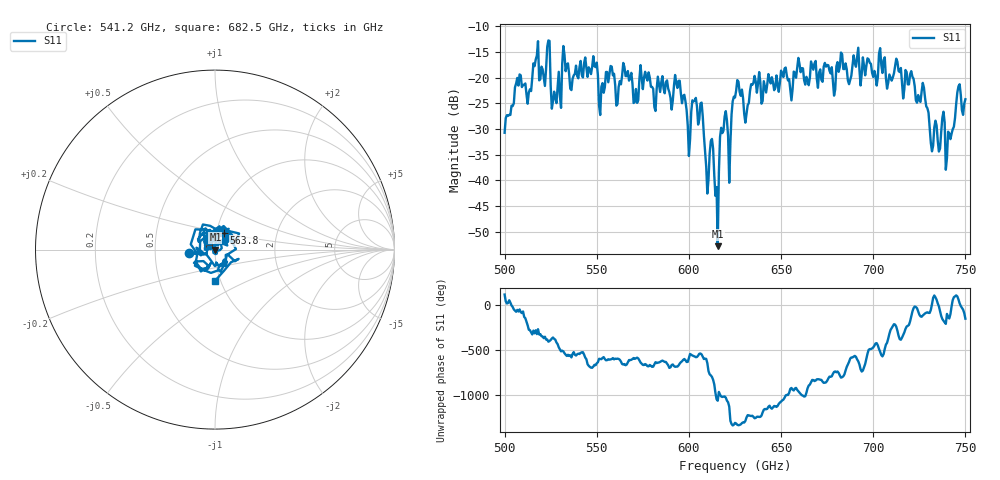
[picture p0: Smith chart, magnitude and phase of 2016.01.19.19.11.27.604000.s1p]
!Created with skrf (http://scikit-rf.org).
# GHz S RI R 50.0
!freq ReS11 ImS11
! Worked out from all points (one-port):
!   401 points, 500 GHz to 750 GHz, reference 50 ohm
!   lowest |S11| = -52.8 dB at 615.6 GHz (marker M1), VSWR 1.00, Z = 50.2 + j0.0417 ohm
!   |S11| at or under -10 dB: start of sweep to end of sweep
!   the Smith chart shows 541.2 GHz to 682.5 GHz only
!   S11 on the Smith chart (normalised r, x): 541.2 GHz: 0.75, -0.03; 563.8 GHz: 1.08, +0.20; 682.5 GHz: 0.94, -0.34
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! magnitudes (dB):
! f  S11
! 500 GHz  -30.7
! 513.1 GHz  -22.9
! 516.9 GHz  -16.5
! 523.8 GHz  -12.8
! 526.9 GHz  -22.7
! 531.2 GHz  -17.3
! 541.2 GHz  -16.8
! 562.5 GHz  -20.7
! 563.8 GHz  -19.6
! 571.2 GHz  -22.2
! 593.8 GHz  -22.0
! 600 GHz  -35.3
! 606.9 GHz  -24.9
! 609.4 GHz  -37.3
! 612.5 GHz  -31.9
! 615.6 GHz  -52.8
! 618.1 GHz  -30.8
! 621.9 GHz  -40.5
! 625 GHz  -23.9
! 656.2 GHz  -22.2
! 682.5 GHz  -15.1
! 687.5 GHz  -20.4
! 718.8 GHz  -21.3
! 727.5 GHz  -21.9
! 731.9 GHz  -34.4
! 740.6 GHz  -30.5
! 746.2 GHz  -21.7
! 750 GHz  -24.2
